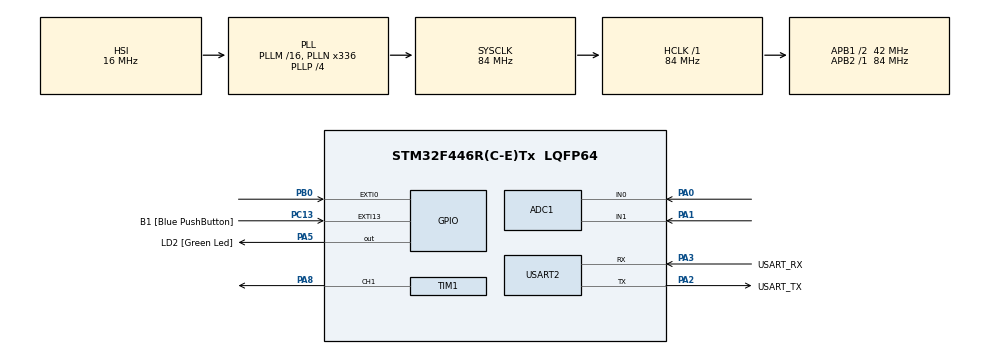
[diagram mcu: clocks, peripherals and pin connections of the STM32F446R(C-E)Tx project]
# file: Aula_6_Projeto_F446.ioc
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ADC1.Channel-0\#ChannelRegularConversion=ADC_CHANNEL_0
ADC1.Channel-1\#ChannelRegularConversion=ADC_CHANNEL_1
ADC1.ContinuousConvMode=ENABLE
ADC1.DMAContinuousRequests=ENABLE
ADC1.NbrOfConversion=2
ADC1.NbrOfConversionFlag=1
ADC1.Rank-0\#ChannelRegularConversion=1
ADC1.Rank-1\#ChannelRegularConversion=2
ADC1.SamplingTime-0\#ChannelRegularConversion=ADC_SAMPLETIME_84CYCLES
ADC1.SamplingTime-1\#ChannelRegularConversion=ADC_SAMPLETIME_84CYCLES
ADC1.master=1
Dma.ADC1.0.Direction=DMA_PERIPH_TO_MEMORY
Dma.ADC1.0.FIFOMode=DMA_FIFOMODE_DISABLE
Dma.ADC1.0.Instance=DMA2_Stream0
Dma.ADC1.0.MemDataAlignment=DMA_MDATAALIGN_WORD
Dma.ADC1.0.MemInc=DMA_MINC_ENABLE
Dma.ADC1.0.Mode=DMA_CIRCULAR
Dma.ADC1.0.PeriphDataAlignment=DMA_PDATAALIGN_WORD
Dma.ADC1.0.PeriphInc=DMA_PINC_DISABLE
Dma.ADC1.0.Priority=DMA_PRIORITY_LOW
Dma.Request0=ADC1
Mcu.Family=STM32F4
Mcu.Name=STM32F446R(C-E)Tx
Mcu.Package=LQFP64
NVIC.ADC_IRQn=true\:0\:0\:false\:false\:true\:true\:true\:true
NVIC.DMA2_Stream0_IRQn=true\:0\:0\:false\:false\:true\:false\:true\:true
NVIC.EXTI0_IRQn=true\:0\:0\:false\:false\:true\:true\:true\:true
NVIC.PriorityGroup=NVIC_PRIORITYGROUP_0
PA0-WKUP.Signal=ADCx_IN0
PA1.Signal=ADCx_IN1
PA13.GPIO_Label=TMS
PA13.Mode=Serial_Wire
PA13.Signal=SYS_JTMS-SWDIO
PA14.GPIO_Label=TCK
PA14.Mode=Serial_Wire
PA14.Signal=SYS_JTCK-SWCLK
PA2.GPIO_Label=USART_TX
PA2.Mode=Asynchronous
PA2.Signal=USART2_TX
PA3.GPIO_Label=USART_RX
PA3.Mode=Asynchronous
PA3.Signal=USART2_RX
PA5.GPIO_Label=LD2 [Green Led]
PA5.Signal=GPIO_Output
PA8.Signal=S_TIM1_CH1
PB0.Signal=GPXTI0
PB3.GPIO_Label=SWO
PB3.Signal=SYS_JTDO-SWO
PC13.GPIO_Label=B1 [Blue PushButton]
PC13.GPIO_ModeDefaultEXTI=GPIO_MODE_IT_FALLING
PC13.Signal=GPXTI13
PC14-OSC32_IN.Mode=LSE-External-Oscillator
PC14-OSC32_IN.Signal=RCC_OSC32_IN
PC15-OSC32_OUT.Mode=LSE-External-Oscillator
PC15-OSC32_OUT.Signal=RCC_OSC32_OUT
PH0-OSC_IN.Mode=HSE-External-Oscillator
PH0-OSC_IN.Signal=RCC_OSC_IN
PH1-OSC_OUT.Mode=HSE-External-Oscillator
PH1-OSC_OUT.Signal=RCC_OSC_OUT
ProjectManager.HeapSize=0x200
ProjectManager.StackSize=0x400
ProjectManager.TargetToolchain=STM32CubeIDE
RCC.48MHZClocksFreq_Value=84000000
RCC.AHBFreq_Value=84000000
RCC.APB1CLKDivider=RCC_HCLK_DIV2
RCC.APB1Freq_Value=42000000
RCC.APB1TimFreq_Value=84000000
RCC.APB2Freq_Value=84000000
RCC.APB2TimFreq_Value=84000000
RCC.CortexFreq_Value=84000000
RCC.FLatency-AdvancedSettings=FLASH_LATENCY_2
RCC.HCLKFreq_Value=84000000
RCC.HSE_VALUE=8000000
RCC.HSI_VALUE=16000000
RCC.PLLN=336
RCC.PLLP=RCC_PLLP_DIV4
RCC.SYSCLKFreq_VALUE=84000000
RCC.SYSCLKSource=RCC_SYSCLKSOURCE_PLLCLK
RCC.USBFreq_Value=168000000
RCC.VCOOutputFreq_Value=336000000
SH.ADCx_IN0.0=ADC1_IN0,IN0
SH.ADCx_IN1.0=ADC1_IN1,IN1
SH.S_TIM1_CH1.0=TIM1_CH1,PWM Generation1 CH1
TIM1.Channel-PWM\ Generation1\ CH1=TIM_CHANNEL_1
TIM1.OCFastMode_PWM-PWM\ Generation1\ CH1=TIM_OCFAST_ENABLE
TIM1.Period=1000
TIM1.Prescaler=63
USART2.VirtualMode=VM_ASYNC
VP_TIM1_VS_ClockSourceINT.Mode=Internal
board=NUCLEO-F446RE

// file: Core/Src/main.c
/* USER CODE BEGIN Header */
/**
  ******************************************************************************
  * @file           : main.c
  * @brief          : Main program body
  ******************************************************************************
  * @attention
  *
  * Copyright (c) 2024 STMicroelectronics.
  * All rights reserved.
  *
  * This software is licensed under terms that can be found in the LICENSE file
  * in the root directory of this software component.
  * If no LICENSE file comes with this software, it is provided AS-IS.
  *
  ******************************************************************************
  */
/* USER CODE END Header */
#include "main.h"
#include "adc.h"
#include "dma.h"
#include "tim.h"
#include "usart.h"
#include "gpio.h"

/* USER CODE BEGIN PD */
#define ADC_1_DMA_CHANNELS 2
#define ADC_1_DMA_BUFFER_SIZE 64
#define LDR_THRESHOLD 2000

/* USER CODE END PD */

/* USER CODE BEGIN PM */
typedef enum {
	MODE_OPERATION,
	MODE_MENU,
} mode_t;
/* USER CODE END PM */

/* USER CODE BEGIN PV */
uint32_t adc_val[ADC_1_DMA_CHANNELS];
uint32_t adc_dma_buffer[ADC_1_DMA_BUFFER_SIZE];
mode_t current_mode = MODE_OPERATION;
uint32_t led_intensity = 500;
/* USER CODE END PV */

void SystemClock_Config(void);

int main(void)
{

  /* MCU Configuration--------------------------------------------------------*/

  /* Reset of all peripherals, Initializes the Flash interface and the Systick. */
  HAL_Init();

  /* Configure the system clock */
  SystemClock_Config();

  /* Initialize all configured peripherals */
  MX_GPIO_Init();
  MX_DMA_Init();
  MX_USART2_UART_Init();
  MX_ADC1_Init();
  MX_TIM1_Init();
  /* USER CODE BEGIN 2 */
  HAL_ADC_Start_DMA(&hadc1, adc_dma_buffer, ADC_1_DMA_BUFFER_SIZE);
  HAL_TIM_PWM_Start(&htim1, TIM_CHANNEL_1);
  /* USER CODE END 2 */

  /* Infinite loop */
  while (1)
  {

    /* USER CODE BEGIN 3 */
	  if (current_mode == MODE_OPERATION){
		  if(adc_val[0] > LDR_THRESHOLD){
			  __HAL_TIM_SET_COMPARE(&htim1, TIM_CHANNEL_1, led_intensity);
		  } else {
			  __HAL_TIM_SET_COMPARE(&htim1, TIM_CHANNEL_1, 0);
		  }
	  } else {
		  led_intensity = (adc_val[1] * 1000) / 4096;
		  __HAL_TIM_SET_COMPARE(&htim1, TIM_CHANNEL_1, led_intensity);
	  }

	  HAL_Delay(25);
  }
  /* USER CODE END 3 */
}

void SystemClock_Config(void)
{
  RCC_OscInitTypeDef RCC_OscInitStruct = {0};
  RCC_ClkInitTypeDef RCC_ClkInitStruct = {0};

  /** Configure the main internal regulator output voltage
  */
  __HAL_RCC_PWR_CLK_ENABLE();
  __HAL_PWR_VOLTAGESCALING_CONFIG(PWR_REGULATOR_VOLTAGE_SCALE3);

  /** Initializes the RCC Oscillators according to the specified parameters
  * in the RCC_OscInitTypeDef structure.
  */
  RCC_OscInitStruct.OscillatorType = RCC_OSCILLATORTYPE_HSI;
  RCC_OscInitStruct.HSIState = RCC_HSI_ON;
  RCC_OscInitStruct.HSICalibrationValue = RCC_HSICALIBRATION_DEFAULT;
  RCC_OscInitStruct.PLL.PLLState = RCC_PLL_ON;
  RCC_OscInitStruct.PLL.PLLSource = RCC_PLLSOURCE_HSI;
  RCC_OscInitStruct.PLL.PLLM = 16;
  RCC_OscInitStruct.PLL.PLLN = 336;
  RCC_OscInitStruct.PLL.PLLP = RCC_PLLP_DIV4;
  RCC_OscInitStruct.PLL.PLLQ = 2;
  RCC_OscInitStruct.PLL.PLLR = 2;
  if (HAL_RCC_OscConfig(&RCC_OscInitStruct) != HAL_OK)
  {
    Error_Handler();
  }

  /** Initializes the CPU, AHB and APB buses clocks
  */
  RCC_ClkInitStruct.ClockType = RCC_CLOCKTYPE_HCLK|RCC_CLOCKTYPE_SYSCLK
                              |RCC_CLOCKTYPE_PCLK1|RCC_CLOCKTYPE_PCLK2;
  RCC_ClkInitStruct.SYSCLKSource = RCC_SYSCLKSOURCE_PLLCLK;
  RCC_ClkInitStruct.AHBCLKDivider = RCC_SYSCLK_DIV1;
  RCC_ClkInitStruct.APB1CLKDivider = RCC_HCLK_DIV2;
  RCC_ClkInitStruct.APB2CLKDivider = RCC_HCLK_DIV1;

  if (HAL_RCC_ClockConfig(&RCC_ClkInitStruct, FLASH_LATENCY_2) != HAL_OK)
  {
    Error_Handler();
  }
}

/* USER CODE BEGIN 4 */
void HAL_ADC_ConvCpltCallback(ADC_HandleTypeDef* hadc)
{
	uint32_t sum[ADC_1_DMA_CHANNELS] = { 0 };

	for (uint16_t i = 0; i < ADC_1_DMA_BUFFER_SIZE; i += ADC_1_DMA_CHANNELS) {
		for (uint16_t j = 0; j < ADC_1_DMA_CHANNELS; j++) {
			sum[j] += adc_dma_buffer[i + j];
		}
	}

	for (uint16_t i = 0; i < ADC_1_DMA_CHANNELS; i++) {
		adc_val[i] = sum[i] / (ADC_1_DMA_BUFFER_SIZE / ADC_1_DMA_CHANNELS);
	}

}

void HAL_GPIO_EXTI_Callback(uint16_t GPIO_Pin)
{

	if (GPIO_Pin == GPIO_PIN_0){
		if (current_mode == MODE_OPERATION){
			current_mode = MODE_MENU;
			HAL_GPIO_WritePin(GPIOA, GPIO_PIN_5, 1);
		} else {
			HAL_GPIO_WritePin(GPIOA, GPIO_PIN_5, 0);
			current_mode = MODE_OPERATION;
		}
	}

}
/* USER CODE END 4 */

void Error_Handler(void)
{
  __disable_irq();
  while (1)
  {
  }
}
